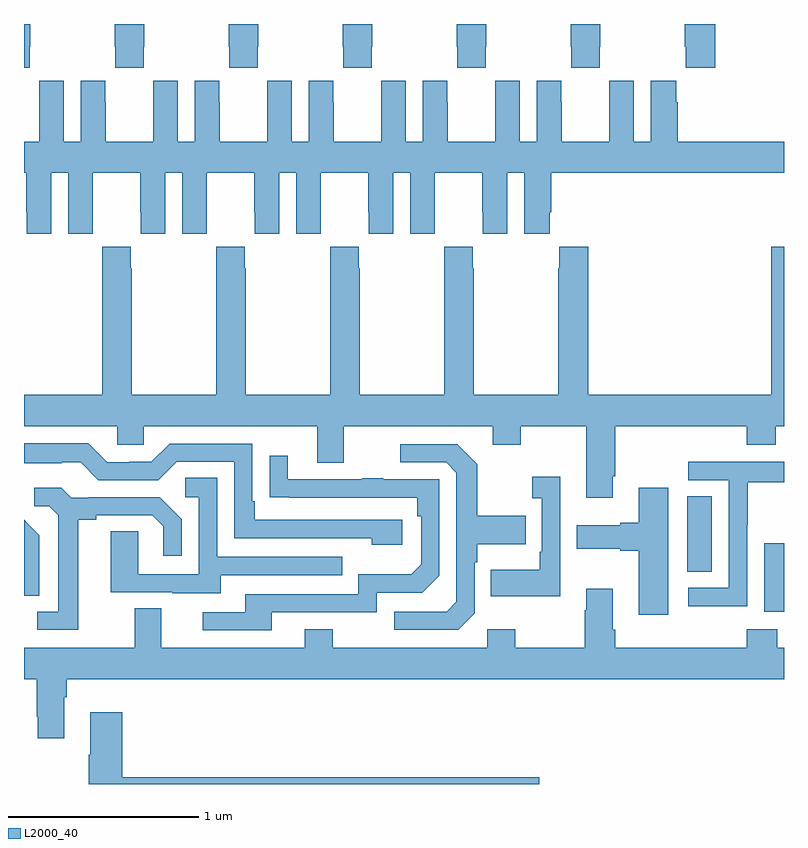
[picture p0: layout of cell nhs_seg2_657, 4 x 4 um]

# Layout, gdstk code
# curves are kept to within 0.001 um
import gdstk
lib = gdstk.Library(unit=1e-6, precision=1e-09)
def R(c, l, rs):  # rectangles x0, y0, x1, y1
    for r in rs: c.add(gdstk.rectangle(r[:2], r[2:], *l))
def P(c, l, *ps):  # polygons
    for p in ps: c.add(gdstk.Polygon(p, *l))
L2000_40 = (2000, 40)

nhs_seg2_657 = lib.new_cell('nhs_seg2_657')
R(nhs_seg2_657, L2000_40, [(148.895,598.706,149,599.067), (148.49,598.918,148.621,599.315)])
P(nhs_seg2_657, L2000_40, [(145.629,601.681),(145.632,601.681),(145.632,601.8),(145.477,601.8),(145.477,601.681),(145.479,601.681),(145.479,601.569),(145.629,601.569)],
  [(145.029,601.681),(145.032,601.681),(145.032,601.8),(145,601.8),(145,601.569),(145.029,601.569)],
  [(146.229,601.681),(146.232,601.681),(146.232,601.8),(146.077,601.8),(146.077,601.681),(146.079,601.681),(146.079,601.569),(146.229,601.569)],
  [(146.829,601.681),(146.832,601.681),(146.832,601.8),(146.677,601.8),(146.677,601.681),(146.679,601.681),(146.679,601.569),(146.829,601.569)],
  [(147.429,601.681),(147.432,601.681),(147.432,601.8),(147.277,601.8),(147.277,601.681),(147.279,601.681),(147.279,601.569),(147.429,601.569)],
  [(148.029,601.681),(148.032,601.681),(148.032,601.8),(147.877,601.8),(147.877,601.681),(147.879,601.681),(147.879,601.569),(148.029,601.569)],
  [(148.637,601.8),(148.477,601.8),(148.477,601.681),(148.483,601.681),(148.483,601.569),(148.637,601.569)],
  [(147.162,600.808),(147.163,600.808),(147.163,601.016),(147.413,601.016),(147.413,600.808),(147.414,600.808),(147.414,600.696),(147.544,600.696),(147.544,601.016),(147.632,601.016),(147.632,600.696),(147.766,600.696),(147.766,600.808),(147.776,600.808),(147.776,601.016),(149,601.016),(149,601.18),(148.442,601.18),(148.442,601.388),(148.432,601.388),(148.432,601.501),(148.298,601.501),(148.298,601.18),(148.21,601.18),(148.21,601.501),(148.08,601.501),(148.08,601.388),(148.079,601.388),(148.079,601.18),(147.829,601.18),(147.829,601.388),(147.828,601.388),(147.828,601.501),(147.698,601.501),(147.698,601.18),(147.61,601.18),(147.61,601.501),(147.48,601.501),(147.48,601.388),(147.479,601.388),(147.479,601.18),(147.229,601.18),(147.229,601.388),(147.228,601.388),(147.228,601.501),(147.098,601.501),(147.098,601.18),(147.01,601.18),(147.01,601.501),(146.88,601.501),(146.88,601.388),(146.879,601.388),(146.879,601.18),(146.629,601.18),(146.629,601.388),(146.628,601.388),(146.628,601.501),(146.498,601.501),(146.498,601.18),(146.41,601.18),(146.41,601.501),(146.28,601.501),(146.28,601.388),(146.279,601.388),(146.279,601.18),(146.029,601.18),(146.029,601.388),(146.028,601.388),(146.028,601.501),(145.898,601.501),(145.898,601.18),(145.81,601.18),(145.81,601.501),(145.68,601.501),(145.68,601.388),(145.679,601.388),(145.679,601.18),(145.429,601.18),(145.429,601.388),(145.428,601.388),(145.428,601.501),(145.298,601.501),(145.298,601.18),(145.21,601.18),(145.21,601.501),(145.08,601.501),(145.08,601.388),(145.079,601.388),(145.079,601.18),(145,601.18),(145,601.016),(145.013,601.016),(145.013,600.808),(145.014,600.808),(145.014,600.696),(145.144,600.696),(145.144,601.016),(145.232,601.016),(145.232,600.696),(145.362,600.696),(145.362,600.808),(145.363,600.808),(145.363,601.016),(145.613,601.016),(145.613,600.808),(145.614,600.808),(145.614,600.696),(145.744,600.696),(145.744,601.016),(145.832,601.016),(145.832,600.696),(145.962,600.696),(145.962,600.808),(145.963,600.808),(145.963,601.016),(146.213,601.016),(146.213,600.808),(146.214,600.808),(146.214,600.696),(146.344,600.696),(146.344,601.016),(146.432,601.016),(146.432,600.696),(146.562,600.696),(146.562,600.808),(146.563,600.808),(146.563,601.016),(146.813,601.016),(146.813,600.808),(146.814,600.808),(146.814,600.696),(146.944,600.696),(146.944,601.016),(147.032,601.016),(147.032,600.696),(147.162,600.696)],
  [(148.099,599.419),(148.112,599.419),(148.112,599.684),(148.805,599.684),(148.805,599.585),(148.957,599.585),(148.957,599.684),(149,599.684),(149,600.628),(148.934,600.628),(148.934,599.848),(147.971,599.848),(147.971,600.628),(147.817,600.628),(147.817,600.515),(147.811,600.515),(147.811,599.848),(147.366,599.848),(147.366,600.515),(147.363,600.515),(147.363,600.628),(147.213,600.628),(147.213,600.515),(147.211,600.515),(147.211,599.848),(146.766,599.848),(146.766,600.515),(146.763,600.515),(146.763,600.628),(146.613,600.628),(146.613,600.515),(146.611,600.515),(146.611,599.848),(146.166,599.848),(146.166,600.515),(146.163,600.515),(146.163,600.628),(146.013,600.628),(146.013,600.515),(146.011,600.515),(146.011,599.848),(145.566,599.848),(145.566,600.515),(145.563,600.515),(145.563,600.628),(145.413,600.628),(145.413,600.515),(145.411,600.515),(145.411,599.848),(145,599.848),(145,599.684),(145.491,599.684),(145.491,599.586),(145.629,599.586),(145.629,599.684),(146.543,599.684),(146.543,599.49),(146.683,599.49),(146.683,599.684),(147.467,599.684),(147.467,599.585),(147.615,599.585),(147.615,599.684),(147.959,599.684),(147.959,599.307),(148.099,599.307)],
  [(146.992,599.19),(146.215,599.19),(146.215,599.287),(146.202,599.287),(146.202,599.592),(145.767,599.592),(145.671,599.496),(145.553,599.496),(145.553,599.493),(145.437,599.493),(145.337,599.593),(145,599.593),(145,599.489),(145.199,599.489),(145.199,599.493),(145.299,599.493),(145.392,599.4),(145.707,599.4),(145.803,599.496),(146.106,599.496),(146.106,599.094),(146.831,599.094),(146.831,599.06),(146.992,599.06)],
  [(147.372,598.698),(147.372,598.967),(147.385,598.967),(147.385,599.063),(147.641,599.063),(147.641,599.211),(147.385,599.211),(147.385,599.483),(147.279,599.589),(146.979,599.589),(146.979,599.493),(147.222,599.493),(147.276,599.439),(147.276,598.758),(147.225,598.707),(146.949,598.707),(146.949,598.611),(147.285,598.611)],
  [(146.305,598.704),(146.856,598.704),(146.856,598.806),(147.096,598.806),(147.186,598.896),(147.186,599.403),(146.891,599.403),(146.891,599.408),(146.779,599.408),(146.779,599.403),(146.389,599.403),(146.389,599.527),(146.293,599.527),(146.293,599.308),(147.07,599.307),(147.07,599.21),(147.09,599.21),(147.09,598.956),(147.037,598.903),(146.76,598.903),(146.76,598.8),(146.165,598.8),(146.165,598.704),(145.941,598.704),(145.941,598.608),(146.305,598.608)],
  [(148.806,599.164),(148.809,599.164),(148.809,599.388),(149,599.388),(149,599.496),(148.497,599.496),(148.497,599.4),(148.71,599.4),(148.71,598.833),(148.497,598.833),(148.497,598.735),(148.806,598.735)],
  [(147.822,599.416),(147.675,599.416),(147.675,599.303),(147.726,599.303),(147.726,599.023),(147.714,599.023),(147.714,598.927),(147.457,598.927),(147.457,598.787),(147.822,598.787)],
  [(146.035,598.899),(146.675,598.899),(146.675,598.995),(146.016,598.995),(146.016,599.411),(145.848,599.411),(145.848,599.31),(145.92,599.31),(145.92,598.905),(145.602,598.905),(145.602,599.129),(145.457,599.129),(145.457,598.809),(145.781,598.809),(145.781,598.805),(146.035,598.805)],
  [(148.39,599.359),(148.235,599.359),(148.235,599.174),(148.139,599.174),(148.139,599.161),(147.909,599.161),(147.909,599.039),(148.139,599.039),(148.139,599.027),(148.235,599.027),(148.235,598.692),(148.39,598.692)],
  [(145.285,599.192),(145.381,599.192),(145.381,599.214),(145.676,599.214),(145.733,599.157),(145.733,599.001),(145.83,599.001),(145.83,599.194),(145.714,599.31),(145.342,599.31),(145.342,599.307),(145.248,599.307),(145.196,599.359),(145.053,599.359),(145.053,599.262),(145.134,599.262),(145.181,599.215),(145.181,598.707),(145.071,598.707),(145.071,598.611),(145.285,598.611)],
  [(145.08,599.11),(145.007,599.183),(145.008,599.184),(145,599.192),(145,598.792),(145.08,598.792)],
  [(145,598.352),(145.066,598.352),(145.066,598.153),(145.073,598.153),(145.073,598.041),(145.213,598.041),(145.213,598.256),(145.226,598.256),(145.226,598.352),(149,598.352),(149,598.516),(148.965,598.516),(148.965,598.615),(148.805,598.615),(148.805,598.516),(148.112,598.516),(148.112,598.612),(148.099,598.612),(148.099,598.828),(147.959,598.828),(147.959,598.715),(147.952,598.715),(147.952,598.516),(147.585,598.516),(147.585,598.615),(147.438,598.615),(147.438,598.516),(146.625,598.516),(146.625,598.615),(146.477,598.615),(146.477,598.516),(145.723,598.516),(145.723,598.724),(145.583,598.724),(145.583,598.516),(145,598.516)],
  [(147.712,597.836),(145.517,597.836),(145.517,598.177),(145.349,598.177),(145.349,597.953),(145.342,597.953),(145.342,597.8),(147.712,597.8)])

lib.write_gds('nhs_seg2_657.gds')
